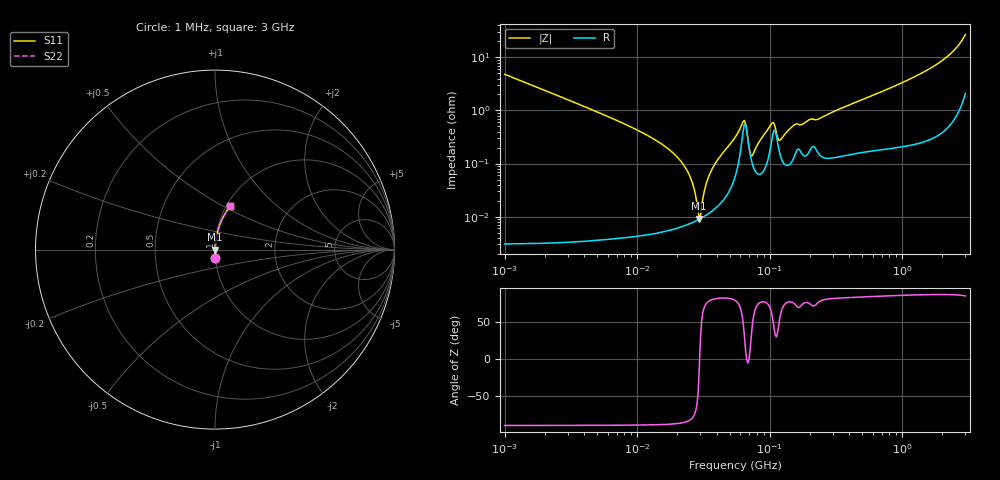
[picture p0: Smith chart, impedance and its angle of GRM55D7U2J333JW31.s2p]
!Murata Part Number: GRM55D7U2J333JW31
!These Parameters are Measured in Series Mode Connection
!Data Generated on Mar 30, 2021
!  o--ll--o
!Port1  Port2
!  o------o
!Operation Temp=25[degC], DC Bias Voltage=0[V]
!Freq. Start=1000[kHz] Stop=3[GHz] 401[Steps]
# Hz S RI R 50
!Freq.(Hz) S11(Real) S11(Imag) S21(Real) S21(Imag) S12(Real) S12(Imag) S22(Real) S22(Imag)
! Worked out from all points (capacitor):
!   401 points, 1 MHz to 3 GHz, reference 50 ohm
!   read as one part in series: C = 33 nF near 1.041 MHz
!   lowest |Z| = 9.16 mohm at 29.45 MHz (marker M1)
!   series resonance near 29.61 MHz, so ESL is about 880 pH
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1000000  0.00235 -0.0481  0.9977 0.0481  0.9977 0.0481  0.00235 -0.0481
3823119  0.000188 -0.0124  0.9998 0.0124  0.9998 0.0124  0.000188 -0.0124
1.461624e7  5.61e-05 -0.00252  0.9999 0.00252  0.9999 0.00252  5.61e-05 -0.00252
1.934349e7  6.11e-05 -0.00146  0.9999 0.00146  0.9999 0.00146  6.11e-05 -0.00146
2.316168e7  6.93e-05 -0.000831  0.9999 0.000831  0.9999 0.000831  6.93e-05 -0.000831
2.611722e7  7.77e-05 -0.000426  0.9999 0.000426  0.9999 0.000426  7.77e-05 -0.000426
2.944989e7  8.97e-05 -1.87e-05  0.9999 1.87e-05  0.9999 1.87e-05  8.97e-05 -1.87e-05
3.065274e7  9.48e-05 0.000119  0.9999 -0.000119  0.9999 -0.000119  9.48e-05 0.000119
3.387922e7  0.000111 0.000472  0.9999 -0.000472  0.9999 -0.000472  0.000111 0.000472
3.670325e7  0.000128 0.00077  0.9999 -0.00077  0.9999 -0.00077  0.000128 0.00077
5.477226e7  0.000567 0.00304  0.9994 -0.00304  0.9994 -0.00304  0.000567 0.00304
6.428402e7  0.00534 0.0036  0.9947 -0.0036  0.9947 -0.0036  0.00534 0.0036
6.690964e7  0.00446 4.88e-05  0.9955 -4.88e-05  0.9955 -4.88e-05  0.00446 4.88e-05
7.105049e7  0.00158 0.0003  0.9984 -0.0003  0.9984 -0.0003  0.00158 0.0003
7.395247e7  0.000996 0.00101  0.999 -0.00101  0.999 -0.00101  0.000996 0.00101
1.039275e8  0.00283 0.00499  0.9972 -0.00499  0.9972 -0.00499  0.00283 0.00499
1.195584e8  0.00152 0.00229  0.9985 -0.00229  0.9985 -0.00229  0.00152 0.00229
1.520175e8  0.00131 0.00508  0.9987 -0.00508  0.9987 -0.00508  0.00131 0.00508
2.094008e8  0.00211 0.00654  0.9979 -0.00654  0.9979 -0.00654  0.00211 0.00654
8.005644e8  0.00258 0.0259  0.9974 -0.0259  0.9974 -0.0259  0.00258 0.0259
1.893158e9  0.00956 0.0778  0.9904 -0.0778  0.9904 -0.0778  0.00956 0.0778
3e9  0.0842 0.2415  0.9158 -0.2415  0.9158 -0.2415  0.0842 0.2415
